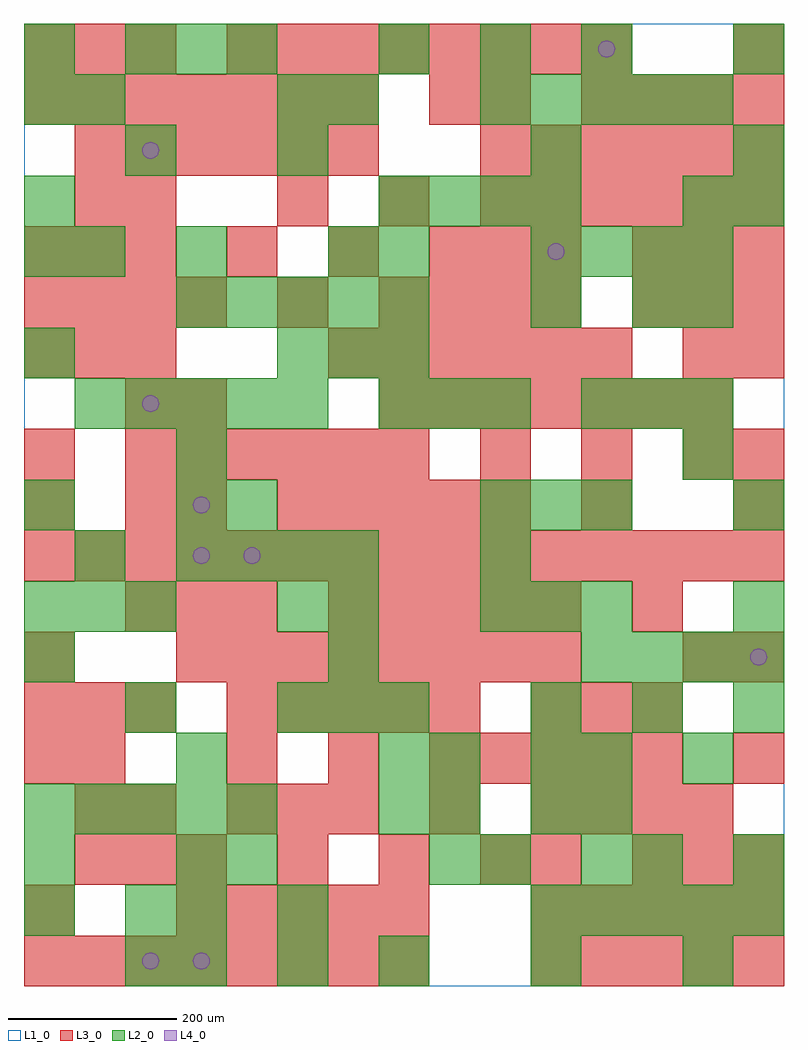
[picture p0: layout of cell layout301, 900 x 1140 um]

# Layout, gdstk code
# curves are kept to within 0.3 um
import gdstk
lib = gdstk.Library(unit=1e-6, precision=1e-09)
def R(c, l, rs):  # rectangles x0, y0, x1, y1
    for r in rs: c.add(gdstk.rectangle(r[:2], r[2:], *l))
def A(c, l, x, y, w, h, nx, ny, dx, dy):  # array of equal rectangles
    R(c, l, [(x+i*dx, y+j*dy, x+i*dx+w, y+j*dy+h) for i in range(nx) for j in range(ny)])
def P(c, l, *ps):  # polygons
    for p in ps: c.add(gdstk.Polygon(p, *l))
L1_0 = (1, 0)
L2_0 = (2, 0)
L3_0 = (3, 0)
L4_0 = (4, 0)

layout301 = lib.new_cell('layout301')
R(layout301, L1_0, [(0,0,900,1140)])
A(layout301, L2_0, 180, 0, 60, 60, 3, 1, 120, 0)
A(layout301, L2_0, 600, 60, 60, 60, 5, 1, 60, 0)
A(layout301, L2_0, 480, 120, 60, 60, 1, 3, 0, 60)
A(layout301, L2_0, 660, 120, 60, 60, 1, 3, 0, 60)
A(layout301, L2_0, 0, 180, 60, 60, 5, 1, 60, 0)
A(layout301, L2_0, 300, 300, 60, 60, 3, 2, 60, 420)
A(layout301, L2_0, 600, 300, 60, 60, 3, 1, 120, 0)
A(layout301, L2_0, 0, 360, 60, 60, 1, 3, 0, 180)
A(layout301, L2_0, 660, 360, 60, 60, 4, 1, 60, 0)
A(layout301, L2_0, 0, 420, 60, 60, 3, 1, 60, 0)
A(layout301, L2_0, 540, 420, 60, 60, 3, 2, 60, 120)
A(layout301, L2_0, 180, 480, 60, 60, 4, 1, 60, 0)
A(layout301, L2_0, 60, 660, 60, 60, 5, 1, 60, 0)
A(layout301, L2_0, 420, 660, 60, 60, 3, 1, 60, 0)
A(layout301, L2_0, 660, 660, 60, 60, 3, 1, 60, 0)
A(layout301, L2_0, 180, 780, 60, 60, 5, 1, 60, 0)
A(layout301, L2_0, 600, 840, 60, 60, 4, 1, 60, 0)
A(layout301, L2_0, 420, 900, 60, 60, 4, 1, 60, 0)
A(layout301, L2_0, 540, 1020, 60, 60, 5, 1, 60, 0)
A(layout301, L2_0, 120, 1080, 60, 60, 3, 1, 60, 0)
A(layout301, L2_0, 420, 1080, 60, 60, 3, 1, 120, 0)
R(layout301, L2_0, [(120,0,180,60), (600,0,660,60), (780,0,840,60), (0,60,60,120), (120,60,180,120), (180,60,240,120), (300,60,360,120), (0,120,60,180), (180,120,240,180), (240,120,300,180), (540,120,600,180), (720,120,780,180), (840,120,900,180), (420,180,480,240), (600,180,660,240), (180,240,240,300), (420,240,480,300), (600,240,660,300), (780,240,840,300), (120,300,180,360), (360,360,420,420), (300,420,360,480), (360,420,420,480), (840,420,900,480), (60,480,120,540), (540,480,600,540), (180,540,240,600), (240,540,300,600), (840,540,900,600), (180,600,240,660), (780,600,840,660), (600,780,660,840), (720,780,780,840), (780,780,840,840), (0,840,60,900), (60,840,120,900), (180,840,240,900), (360,840,420,900), (420,840,480,900), (0,900,60,960), (780,900,840,960), (840,900,900,960), (120,960,180,1020), (300,960,360,1020), (600,960,660,1020), (840,960,900,1020), (0,1020,60,1080), (60,1020,120,1080), (300,1020,360,1080), (360,1020,420,1080), (0,1080,60,1140), (840,1080,900,1140)])
A(layout301, L3_0, 0, 0, 60, 60, 8, 1, 60, 0)
A(layout301, L3_0, 600, 0, 60, 60, 5, 2, 60, 60)
A(layout301, L3_0, 180, 60, 60, 60, 5, 1, 60, 0)
A(layout301, L3_0, 60, 120, 60, 60, 3, 1, 60, 0)
A(layout301, L3_0, 300, 120, 60, 60, 3, 2, 120, 780)
A(layout301, L3_0, 720, 120, 60, 60, 3, 2, 60, 660)
A(layout301, L3_0, 240, 180, 60, 60, 3, 1, 60, 0)
A(layout301, L3_0, 600, 180, 60, 60, 4, 1, 60, 0)
A(layout301, L3_0, 240, 240, 60, 60, 3, 2, 120, 600)
A(layout301, L3_0, 540, 240, 60, 60, 4, 1, 60, 0)
A(layout301, L3_0, 0, 300, 60, 60, 3, 2, 60, 420)
A(layout301, L3_0, 240, 300, 60, 60, 5, 1, 60, 0)
A(layout301, L3_0, 600, 300, 60, 60, 3, 1, 60, 0)
A(layout301, L3_0, 180, 360, 60, 60, 8, 1, 60, 0)
A(layout301, L3_0, 120, 420, 60, 60, 3, 1, 60, 0)
A(layout301, L3_0, 360, 420, 60, 60, 5, 1, 60, 0)
A(layout301, L3_0, 0, 480, 60, 60, 15, 1, 60, 0)
A(layout301, L3_0, 300, 540, 60, 60, 5, 1, 60, 0)
A(layout301, L3_0, 120, 600, 60, 60, 6, 1, 60, 0)
A(layout301, L3_0, 540, 600, 60, 60, 3, 1, 120, 0)
A(layout301, L3_0, 420, 660, 60, 60, 7, 1, 60, 0)
A(layout301, L3_0, 360, 720, 60, 60, 6, 1, 60, 0)
A(layout301, L3_0, 0, 780, 60, 60, 4, 1, 60, 0)
A(layout301, L3_0, 420, 780, 60, 60, 4, 1, 60, 0)
A(layout301, L3_0, 0, 840, 60, 60, 3, 2, 60, 240)
A(layout301, L3_0, 720, 840, 60, 60, 3, 1, 60, 0)
A(layout301, L3_0, 600, 900, 60, 60, 5, 1, 60, 0)
A(layout301, L3_0, 60, 960, 60, 60, 6, 1, 60, 0)
A(layout301, L3_0, 540, 960, 60, 60, 6, 1, 60, 0)
A(layout301, L3_0, 0, 1020, 60, 60, 7, 1, 60, 0)
A(layout301, L3_0, 660, 1020, 60, 60, 4, 1, 60, 0)
A(layout301, L3_0, 240, 1080, 60, 60, 8, 1, 60, 0)
R(layout301, L3_0, [(0,60,60,120), (600,120,660,180), (60,180,120,240), (120,180,180,240), (480,180,540,240), (0,240,60,300), (60,240,120,300), (840,240,900,300), (0,360,60,420), (780,360,840,420), (840,360,900,420), (720,420,780,480), (0,540,60,600), (120,540,180,600), (180,540,240,600), (660,540,720,600), (840,540,900,600), (0,600,60,660), (840,600,900,660), (120,660,180,720), (180,660,240,720), (780,720,840,780), (840,720,900,780), (300,780,360,840), (540,840,600,900), (600,840,660,900), (60,900,120,960), (120,900,180,960), (480,1020,540,1080), (540,1020,600,1080), (840,1080,900,1140)])
P(layout301, L4_0, [(160,30),(159.239,33.827),(157.071,37.071),(153.827,39.239),(150,40),(146.173,39.239),(142.929,37.071),(140.761,33.827),(140,30),(140.761,26.173),(142.929,22.929),(146.173,20.761),(150,20),(153.827,20.761),(157.071,22.929),(159.239,26.173)],
  [(160,690),(159.239,693.827),(157.071,697.071),(153.827,699.239),(150,700),(146.173,699.239),(142.929,697.071),(140.761,693.827),(140,690),(140.761,686.173),(142.929,682.929),(146.173,680.761),(150,680),(153.827,680.761),(157.071,682.929),(159.239,686.173)],
  [(160,990),(159.239,993.827),(157.071,997.071),(153.827,999.239),(150,1000),(146.173,999.239),(142.929,997.071),(140.761,993.827),(140,990),(140.761,986.173),(142.929,982.929),(146.173,980.761),(150,980),(153.827,980.761),(157.071,982.929),(159.239,986.173)],
  [(220,30),(219.239,33.827),(217.071,37.071),(213.827,39.239),(210,40),(206.173,39.239),(202.929,37.071),(200.761,33.827),(200,30),(200.761,26.173),(202.929,22.929),(206.173,20.761),(210,20),(213.827,20.761),(217.071,22.929),(219.239,26.173)],
  [(220,510),(219.239,513.827),(217.071,517.071),(213.827,519.239),(210,520),(206.173,519.239),(202.929,517.071),(200.761,513.827),(200,510),(200.761,506.173),(202.929,502.929),(206.173,500.761),(210,500),(213.827,500.761),(217.071,502.929),(219.239,506.173)],
  [(220,570),(219.239,573.827),(217.071,577.071),(213.827,579.239),(210,580),(206.173,579.239),(202.929,577.071),(200.761,573.827),(200,570),(200.761,566.173),(202.929,562.929),(206.173,560.761),(210,560),(213.827,560.761),(217.071,562.929),(219.239,566.173)],
  [(280,510),(279.239,513.827),(277.071,517.071),(273.827,519.239),(270,520),(266.173,519.239),(262.929,517.071),(260.761,513.827),(260,510),(260.761,506.173),(262.929,502.929),(266.173,500.761),(270,500),(273.827,500.761),(277.071,502.929),(279.239,506.173)],
  [(640,870),(639.239,873.827),(637.071,877.071),(633.827,879.239),(630,880),(626.173,879.239),(622.929,877.071),(620.761,873.827),(620,870),(620.761,866.173),(622.929,862.929),(626.173,860.761),(630,860),(633.827,860.761),(637.071,862.929),(639.239,866.173)],
  [(700,1110),(699.239,1113.827),(697.071,1117.071),(693.827,1119.239),(690,1120),(686.173,1119.239),(682.929,1117.071),(680.761,1113.827),(680,1110),(680.761,1106.173),(682.929,1102.929),(686.173,1100.761),(690,1100),(693.827,1100.761),(697.071,1102.929),(699.239,1106.173)],
  [(880,390),(879.239,393.827),(877.071,397.071),(873.827,399.239),(870,400),(866.173,399.239),(862.929,397.071),(860.761,393.827),(860,390),(860.761,386.173),(862.929,382.929),(866.173,380.761),(870,380),(873.827,380.761),(877.071,382.929),(879.239,386.173)])

lib.write_gds('layout301.gds')
